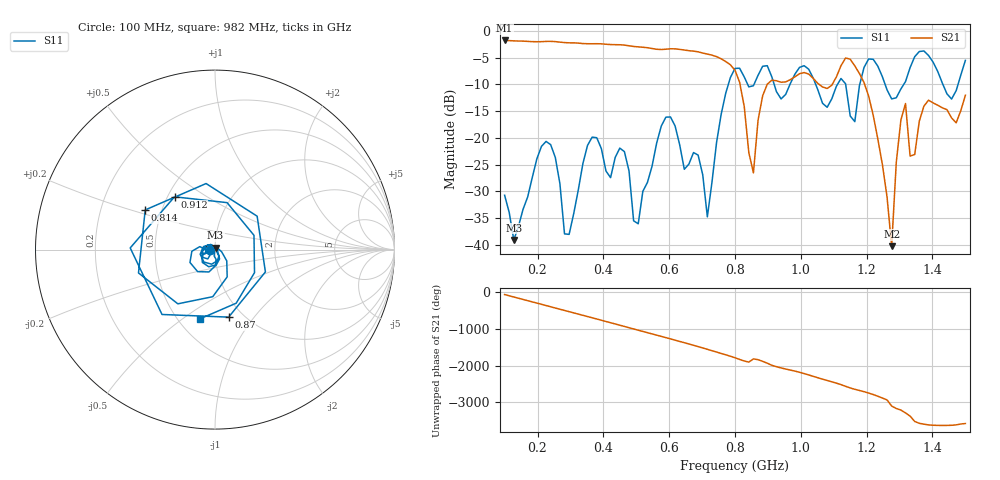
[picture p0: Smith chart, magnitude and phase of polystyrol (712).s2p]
! NanoVNA-App
! Date: 2025-09-25 15:35:25
! Start: 100MHz Stop: 1,5GHz Points: 101
! S-Parameter data: F S11 S21 S12 S22
# Hz S RI R 50
!  Frequency  S11_Real  S11_Imag  S21_Real  S21_Imag  S12_Real  S12_Imag  S22_Real  S22_Imag
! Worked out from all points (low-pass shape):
!   101 points, 100 MHz to 1.5 GHz, reference 50 ohm
!   highest |S21| = -1.80 dB at 100 MHz (marker M1); lowest = -40.2 dB at 1.276 GHz (marker M2)
!   |S21| within 3 dB of the highest: start of sweep to 742.9 MHz
!   lowest |S11| = -39.1 dB at 128 MHz (marker M3), VSWR 1.02, Z = 50.3 + j1.06 ohm
!   |S11| at or under -10 dB: start of sweep to 779.8 MHz; 1.045 GHz to 1.111 GHz (66.29 MHz wide, 6.15 % of centre); 1.256 GHz to 1.313 GHz (56.73 MHz wide, 4.42 % of centre) (the widest 3 of 7)
!   S12 and S22 are empty: the file has one direction only
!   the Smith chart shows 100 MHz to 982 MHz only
!   S11 on the Smith chart (normalised r, x): 100 MHz: 0.94, -0.01; 814 MHz: 0.40, +0.22; 870 MHz: 0.86, -0.76; 912 MHz: 0.54, +0.37; 982 MHz: 0.64, -0.58
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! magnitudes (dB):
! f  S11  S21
! 100 MHz  -30.7  -1.8
! 128 MHz  -39.1  -1.9
! 212 MHz  -21.6  -2.0
! 282 MHz  -37.9  -2.2
! 338 MHz  -24.8  -2.4
! 464 MHz  -22.6  -2.7
! 506 MHz  -36.0  -3.0
! 576 MHz  -17.8  -3.5
! 716 MHz  -34.7  -4.3
! 800 MHz  -7.0  -7.4
! 814 MHz  -7.0  -9.6
! 856 MHz  -10.3  -26.5
! 870 MHz  -8.3  -16.7
! 912 MHz  -8.6  -9.2
! 982 MHz  -8.1  -8.6
! 1.038 GHz  -8.9  -8.9
! 1.164 GHz  -17.0  -6.6
! 1.192 GHz  -6.8  -9.7
! 1.276 GHz  -12.7  -40.2
! 1.318 GHz  -9.5  -13.6
! 1.332 GHz  -6.9  -23.4
! 1.5 GHz  -5.5  -12.0
